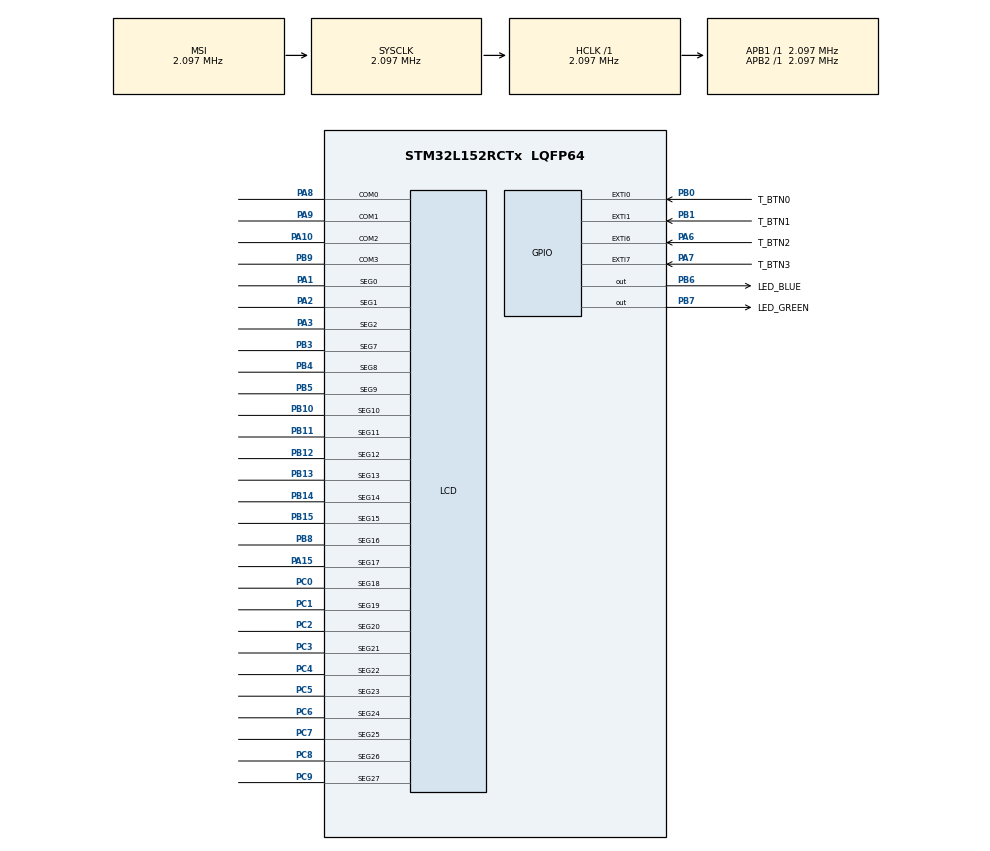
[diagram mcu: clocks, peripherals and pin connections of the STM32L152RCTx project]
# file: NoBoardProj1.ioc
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Mcu.Family=STM32L1
Mcu.Name=STM32L152RCTx
Mcu.Package=LQFP64
NVIC.EXTI0_IRQn=true\:0\:0\:false\:false\:true\:true
NVIC.EXTI1_IRQn=true\:0\:0\:false\:false\:true\:true
NVIC.EXTI9_5_IRQn=true\:0\:0\:false\:false\:true\:true
NVIC.PriorityGroup=NVIC_PRIORITYGROUP_4
NVIC.TIM6_IRQn=true\:0\:0\:false\:false\:true\:true
NVIC.TIM7_IRQn=true\:0\:0\:false\:false\:true\:true
PA1.Mode=SEG0
PA1.Signal=LCD_SEG0
PA10.Mode=1/4 Duty Cycle
PA10.Signal=LCD_COM2
PA13.Mode=Serial_Wire
PA13.Signal=SYS_JTMS-SWDIO
PA14.Mode=Serial_Wire
PA14.Signal=SYS_JTCK-SWCLK
PA15.Mode=SEG17
PA15.Signal=LCD_SEG17
PA2.Mode=SEG1
PA2.Signal=LCD_SEG1
PA3.Mode=SEG2
PA3.Signal=LCD_SEG2
PA6.GPIO_Label=T_BTN2
PA6.Signal=GPXTI6
PA7.GPIO_Label=T_BTN3
PA7.Signal=GPXTI7
PA8.Mode=1/4 Duty Cycle
PA8.Signal=LCD_COM0
PA9.Mode=1/4 Duty Cycle
PA9.Signal=LCD_COM1
PB0.GPIO_Label=T_BTN0
PB0.Signal=GPXTI0
PB1.GPIO_Label=T_BTN1
PB1.Signal=GPXTI1
PB10.Mode=SEG10
PB10.Signal=LCD_SEG10
PB11.Mode=SEG11
PB11.Signal=LCD_SEG11
PB12.Mode=SEG12
PB12.Signal=LCD_SEG12
PB13.Mode=SEG13
PB13.Signal=LCD_SEG13
PB14.Mode=SEG14
PB14.Signal=LCD_SEG14
PB15.Mode=SEG15
PB15.Signal=LCD_SEG15
PB3.Mode=SEG7
PB3.Signal=LCD_SEG7
PB4.Mode=SEG8
PB4.Signal=LCD_SEG8
PB5.Mode=SEG9
PB5.Signal=LCD_SEG9
PB6.GPIO_Label=LED_BLUE
PB6.Signal=GPIO_Output
PB7.GPIO_Label=LED_GREEN
PB7.Signal=GPIO_Output
PB8.Mode=SEG16
PB8.Signal=LCD_SEG16
PB9.Mode=1/4 Duty Cycle
PB9.Signal=LCD_COM3
PC0.Mode=SEG18
PC0.Signal=LCD_SEG18
PC1.Mode=SEG19
PC1.Signal=LCD_SEG19
PC2.Mode=SEG20
PC2.Signal=LCD_SEG20
PC3.Mode=SEG21
PC3.Signal=LCD_SEG21
PC4.Mode=SEG22
PC4.Signal=LCD_SEG22
PC5.Mode=SEG23
PC5.Signal=LCD_SEG23
PC6.Mode=SEG24
PC6.Signal=LCD_SEG24
PC7.Mode=SEG25
PC7.Signal=LCD_SEG25
PC8.Mode=SEG26
PC8.Signal=LCD_SEG26
PC9.Mode=SEG27
PC9.Signal=LCD_SEG27
ProjectManager.HeapSize=0x200
ProjectManager.StackSize=0x400
ProjectManager.TargetToolchain=TrueSTUDIO
RCC.AHBFreq_Value=2097000
RCC.APB1Freq_Value=2097000
RCC.APB2Freq_Value=2097000
RCC.HSE_VALUE=24000000
RCC.HSI_VALUE=16000000
RCC.LSE_VALUE=32768
RCC.MSI_VALUE=2097000
RCC.SYSCLKFreq_VALUE=2097000
RCC.VCOOutputFreq_Value=48000000
TIM6.Period=2097
TIM6.Prescaler=1000
TIM7.Period=2097
TIM7.Prescaler=100
VP_TIM6_VS_ClockSourceINT.Mode=Enable_Timer
VP_TIM7_VS_ClockSourceINT.Mode=Enable_Timer
board=custom

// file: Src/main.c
/* USER CODE BEGIN Header */
/**
 ******************************************************************************
 * @file           : main.c
 * @brief          : Main program body
 ******************************************************************************
 ** This notice applies to any and all portions of this file
 * that are not between comment pairs USER CODE BEGIN and
 * USER CODE END. Other portions of this file, whether
 * inserted by the user or by software development tools
 * are owned by their respective copyright owners.
 *
 * COPYRIGHT(c) 2018 STMicroelectronics
 *
 * Redistribution and use in source and binary forms, with or without modification,
 * are permitted provided that the following conditions are met:
 *   1. Redistributions of source code must retain the above copyright notice,
 *      this list of conditions and the following disclaimer.
 *   2. Redistributions in binary form must reproduce the above copyright notice,
 *      this list of conditions and the following disclaimer in the documentation
 *      and/or other materials provided with the distribution.
 *   3. Neither the name of STMicroelectronics nor the names of its contributors
 *      may be used to endorse or promote products derived from this software
 *      without specific prior written permission.
 *
 * THIS SOFTWARE IS PROVIDED BY THE COPYRIGHT HOLDERS AND CONTRIBUTORS "AS IS"
 * AND ANY EXPRESS OR IMPLIED WARRANTIES, INCLUDING, BUT NOT LIMITED TO, THE
 * IMPLIED WARRANTIES OF MERCHANTABILITY AND FITNESS FOR A PARTICULAR PURPOSE ARE
 * DISCLAIMED. IN NO EVENT SHALL THE COPYRIGHT HOLDER OR CONTRIBUTORS BE LIABLE
 * FOR ANY DIRECT, INDIRECT, INCIDENTAL, SPECIAL, EXEMPLARY, OR CONSEQUENTIAL
 * DAMAGES (INCLUDING, BUT NOT LIMITED TO, PROCUREMENT OF SUBSTITUTE GOODS OR
 * SERVICES; LOSS OF USE, DATA, OR PROFITS; OR BUSINESS INTERRUPTION) HOWEVER
 * CAUSED AND ON ANY THEORY OF LIABILITY, WHETHER IN CONTRACT, STRICT LIABILITY,
 * OR TORT (INCLUDING NEGLIGENCE OR OTHERWISE) ARISING IN ANY WAY OUT OF THE USE
 * OF THIS SOFTWARE, EVEN IF ADVISED OF THE POSSIBILITY OF SUCH DAMAGE.
 *
 ******************************************************************************
 */
/* USER CODE END Header */

#include "main.h"

/* USER CODE BEGIN Includes */
#include <stdlib.h>
#include <string.h>

/* USER CODE END Includes */

LCD_HandleTypeDef hlcd;

TIM_HandleTypeDef htim6;
TIM_HandleTypeDef htim7;

void SystemClock_Config(void);
static void MX_GPIO_Init(void);
static void MX_LCD_Init(void);
static void MX_TIM6_Init(void);
static void MX_TIM7_Init(void);

/* USER CODE BEGIN 0 */
int counter = 0;
uint8_t *counter_ch = 0;
int counter4 = 0;
BarId_Typedef bars[4] =
{ LCD_BAR_0, LCD_BAR_1, LCD_BAR_2, LCD_BAR_3 };

void HAL_TIM_PeriodElapsedCallback(TIM_HandleTypeDef *htim)
{
  if (htim->Instance == TIM6)
  {
    counter4++;
    if (counter4 > 4)
    {
      counter4 = 0;
    }
//    if (counter4 == 4)
//    {
//      BSP_LCD_GLASS_ClearBar(LCD_BAR_0);
//      BSP_LCD_GLASS_ClearBar(LCD_BAR_1);
//      BSP_LCD_GLASS_ClearBar(LCD_BAR_2);
//      BSP_LCD_GLASS_ClearBar(LCD_BAR_3);
//    } else
//    {
//      BSP_LCD_GLASS_DisplayBar(bars[counter4]);
//    }
//    char ch = counter4 + '0';
//    BSP_LCD_GLASS_DisplayChar((uint8_t*) (&ch), POINT_OFF, DOUBLEPOINT_OFF,
//        LCD_DIGIT_POSITION_1);
    HAL_GPIO_TogglePin(LED_BLUE_GPIO_Port, LED_BLUE_Pin);
  }
  if (htim->Instance == TIM7 && 0)
  {
    counter++;
    if (counter >= 999999)
    {
      counter = 0;
    }
    if (counter % 10 == 0)
    {
      BSP_LCD_GLASS_Clear();
    }
    int temp = counter;
    for (int i = 5; i >= 0; --i)
    {
      counter_ch[i] = (temp % 10) + '0';
      temp /= 10;
//      BSP_LCD_GLASS_DisplayChar((uint8_t*) (&counter_ch[i]), POINT_OFF,
//          DOUBLEPOINT_ON, 5 - i);
    }
    BSP_LCD_GLASS_DisplayString(counter_ch);
  }
}

void HAL_GPIO_EXTI_Callback(uint16_t GPIO_Pin)
{
//  if (GPIO_Pin == BTN_Pin)
//  {
//    HAL_GPIO_TogglePin(LED_GREEN_GPIO_Port, LED_GREEN_Pin);
//  }
  if (GPIO_Pin == T_BTN0_Pin)
  {
    BSP_LCD_GLASS_Clear();
    BSP_LCD_GLASS_DisplayBar(LCD_BAR_0);
  }
  if (GPIO_Pin == T_BTN1_Pin)
    {
      BSP_LCD_GLASS_Clear();
      BSP_LCD_GLASS_DisplayBar(LCD_BAR_1);
    }
}
/* USER CODE END 0 */

int main(void)
{

  /* MCU Configuration--------------------------------------------------------*/

  /* Reset of all peripherals, Initializes the Flash interface and the Systick. */
  HAL_Init();

  /* Configure the system clock */
  SystemClock_Config();

  /* Initialize all configured peripherals */
  MX_GPIO_Init();
  MX_LCD_Init();
  MX_TIM6_Init();
  MX_TIM7_Init();
  /* USER CODE BEGIN 2 */

  HAL_TIM_Base_Start_IT(&htim6);

  counter_ch = (uint8_t*) malloc((size_t) sizeof(char) * 6);
  BSP_LCD_GLASS_Init();
  BSP_LCD_GLASS_Contrast(LCD_CONTRASTLEVEL_7);
  char sentense[] = "      HI! MY NAME IS KRAFTWERK28      ";
//  sentense[21] = 0xFF;
  BSP_LCD_GLASS_ScrollSentence((uint8_t*) (&sentense),
      strlen((const char*) (&sentense)),
      SCROLL_SPEED_HIGH);

//  HAL_TIM_Base_Start_IT(&htim7);

  HAL_GPIO_WritePin(LED_GREEN_GPIO_Port, LED_GREEN_Pin, 1);
//  HAL_GPIO_WritePin(BTN_GPIO_Port, BTN_Pin, 1);
//  const char *sentense = "      YPA OHO PAbOTAET      ";
//  BSP_LCD_GLASS_ScrollSentence((uint8_t*) sentense,
//      (uint16_t) (strlen(sentense) + 6), 250);
  /* USER CODE END 2 */

  /* Infinite loop */
  while (1)
  {

  }
}

void SystemClock_Config(void)
{
  RCC_OscInitTypeDef RCC_OscInitStruct = {0};
  RCC_ClkInitTypeDef RCC_ClkInitStruct = {0};
  RCC_PeriphCLKInitTypeDef PeriphClkInit = {0};

  /**Configure the main internal regulator output voltage
  */
  __HAL_PWR_VOLTAGESCALING_CONFIG(PWR_REGULATOR_VOLTAGE_SCALE1);
  /**Initializes the CPU, AHB and APB busses clocks
  */
  RCC_OscInitStruct.OscillatorType = RCC_OSCILLATORTYPE_LSI|RCC_OSCILLATORTYPE_MSI;
  RCC_OscInitStruct.LSIState = RCC_LSI_ON;
  RCC_OscInitStruct.MSIState = RCC_MSI_ON;
  RCC_OscInitStruct.MSICalibrationValue = 0;
  RCC_OscInitStruct.MSIClockRange = RCC_MSIRANGE_5;
  RCC_OscInitStruct.PLL.PLLState = RCC_PLL_NONE;
  if (HAL_RCC_OscConfig(&RCC_OscInitStruct) != HAL_OK)
  {
    Error_Handler();
  }
  /**Initializes the CPU, AHB and APB busses clocks
  */
  RCC_ClkInitStruct.ClockType = RCC_CLOCKTYPE_HCLK|RCC_CLOCKTYPE_SYSCLK
                              |RCC_CLOCKTYPE_PCLK1|RCC_CLOCKTYPE_PCLK2;
  RCC_ClkInitStruct.SYSCLKSource = RCC_SYSCLKSOURCE_MSI;
  RCC_ClkInitStruct.AHBCLKDivider = RCC_SYSCLK_DIV1;
  RCC_ClkInitStruct.APB1CLKDivider = RCC_HCLK_DIV1;
  RCC_ClkInitStruct.APB2CLKDivider = RCC_HCLK_DIV1;

  if (HAL_RCC_ClockConfig(&RCC_ClkInitStruct, FLASH_LATENCY_0) != HAL_OK)
  {
    Error_Handler();
  }
  PeriphClkInit.PeriphClockSelection = RCC_PERIPHCLK_LCD;
  PeriphClkInit.LCDClockSelection = RCC_RTCCLKSOURCE_LSI;

  if (HAL_RCCEx_PeriphCLKConfig(&PeriphClkInit) != HAL_OK)
  {
    Error_Handler();
  }
}

static void MX_LCD_Init(void)
{

  hlcd.Instance = LCD;
  hlcd.Init.Prescaler = LCD_PRESCALER_1;
  hlcd.Init.Divider = LCD_DIVIDER_16;
  hlcd.Init.Duty = LCD_DUTY_1_4;
  hlcd.Init.Bias = LCD_BIAS_1_4;
  hlcd.Init.VoltageSource = LCD_VOLTAGESOURCE_INTERNAL;
  hlcd.Init.Contrast = LCD_CONTRASTLEVEL_0;
  hlcd.Init.DeadTime = LCD_DEADTIME_0;
  hlcd.Init.PulseOnDuration = LCD_PULSEONDURATION_0;
  hlcd.Init.MuxSegment = LCD_MUXSEGMENT_DISABLE;
  hlcd.Init.BlinkMode = LCD_BLINKMODE_OFF;
  hlcd.Init.BlinkFrequency = LCD_BLINKFREQUENCY_DIV8;
  if (HAL_LCD_Init(&hlcd) != HAL_OK)
  {
    Error_Handler();
  }

}

static void MX_TIM6_Init(void)
{

  TIM_MasterConfigTypeDef sMasterConfig = {0};

  htim6.Instance = TIM6;
  htim6.Init.Prescaler = 1000;
  htim6.Init.CounterMode = TIM_COUNTERMODE_UP;
  htim6.Init.Period = 2097;
  if (HAL_TIM_Base_Init(&htim6) != HAL_OK)
  {
    Error_Handler();
  }
  sMasterConfig.MasterOutputTrigger = TIM_TRGO_RESET;
  sMasterConfig.MasterSlaveMode = TIM_MASTERSLAVEMODE_DISABLE;
  if (HAL_TIMEx_MasterConfigSynchronization(&htim6, &sMasterConfig) != HAL_OK)
  {
    Error_Handler();
  }

}

static void MX_TIM7_Init(void)
{

  TIM_MasterConfigTypeDef sMasterConfig = {0};

  htim7.Instance = TIM7;
  htim7.Init.Prescaler = 100;
  htim7.Init.CounterMode = TIM_COUNTERMODE_UP;
  htim7.Init.Period = 2097;
  if (HAL_TIM_Base_Init(&htim7) != HAL_OK)
  {
    Error_Handler();
  }
  sMasterConfig.MasterOutputTrigger = TIM_TRGO_RESET;
  sMasterConfig.MasterSlaveMode = TIM_MASTERSLAVEMODE_DISABLE;
  if (HAL_TIMEx_MasterConfigSynchronization(&htim7, &sMasterConfig) != HAL_OK)
  {
    Error_Handler();
  }

}

static void MX_GPIO_Init(void)
{
  GPIO_InitTypeDef GPIO_InitStruct = {0};

  /* GPIO Ports Clock Enable */
  __HAL_RCC_GPIOC_CLK_ENABLE();
  __HAL_RCC_GPIOA_CLK_ENABLE();
  __HAL_RCC_GPIOB_CLK_ENABLE();

  /*Configure GPIO pin Output Level */
  HAL_GPIO_WritePin(GPIOB, LED_BLUE_Pin|LED_GREEN_Pin, GPIO_PIN_RESET);

  /*Configure GPIO pins : T_BTN2_Pin T_BTN3_Pin */
  GPIO_InitStruct.Pin = T_BTN2_Pin|T_BTN3_Pin;
  GPIO_InitStruct.Mode = GPIO_MODE_IT_RISING;
  GPIO_InitStruct.Pull = GPIO_NOPULL;
  HAL_GPIO_Init(GPIOA, &GPIO_InitStruct);

  /*Configure GPIO pins : T_BTN0_Pin T_BTN1_Pin */
  GPIO_InitStruct.Pin = T_BTN0_Pin|T_BTN1_Pin;
  GPIO_InitStruct.Mode = GPIO_MODE_IT_RISING;
  GPIO_InitStruct.Pull = GPIO_NOPULL;
  HAL_GPIO_Init(GPIOB, &GPIO_InitStruct);

  /*Configure GPIO pins : LED_BLUE_Pin LED_GREEN_Pin */
  GPIO_InitStruct.Pin = LED_BLUE_Pin|LED_GREEN_Pin;
  GPIO_InitStruct.Mode = GPIO_MODE_OUTPUT_PP;
  GPIO_InitStruct.Pull = GPIO_NOPULL;
  GPIO_InitStruct.Speed = GPIO_SPEED_FREQ_LOW;
  HAL_GPIO_Init(GPIOB, &GPIO_InitStruct);

  /* EXTI interrupt init*/
  HAL_NVIC_SetPriority(EXTI0_IRQn, 0, 0);
  HAL_NVIC_EnableIRQ(EXTI0_IRQn);

  HAL_NVIC_SetPriority(EXTI1_IRQn, 0, 0);
  HAL_NVIC_EnableIRQ(EXTI1_IRQn);

  HAL_NVIC_SetPriority(EXTI9_5_IRQn, 0, 0);
  HAL_NVIC_EnableIRQ(EXTI9_5_IRQn);

}

void Error_Handler(void)
{
}

/************************ (C) COPYRIGHT STMicroelectronics *****END OF FILE****/
